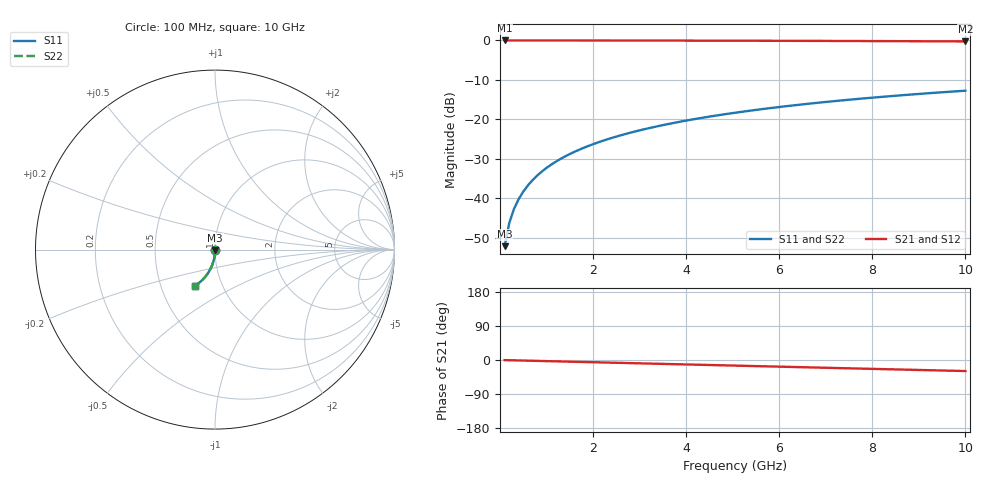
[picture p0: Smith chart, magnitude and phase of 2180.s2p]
# Hz S RI R 50.00
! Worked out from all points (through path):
!   100 points, 100 MHz to 10 GHz, reference 50 ohm
!   highest |S21| = 0.00 dB at 100 MHz (marker M1); lowest = -0.2 dB at 10 GHz (marker M2)
!   group delay of S21, straight-line fit = 8.11 ps
!   lowest |S11| = -52.2 dB at 100 MHz (marker M3), VSWR 1.00, Z = 50 - j0.242 ohm
!   |S11| at or under -10 dB: start of sweep to end of sweep
!   |S22| runs from -52.2 to -12.7 dB; largest |S21 - S12| = 0
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1e8  0.000463 -0.00242  0.9995 -0.00511  0.9995 -0.00511  0.000463 -0.00242
2e8  0.000425 -0.00484  0.9994 -0.0102  0.9994 -0.0102  0.000425 -0.00484
3e8  0.000362 -0.00727  0.9994 -0.0153  0.9994 -0.0153  0.000362 -0.00727
4e8  0.000274 -0.00969  0.9992 -0.0205  0.9992 -0.0205  0.000274 -0.00969
5e8  0.00016 -0.0121  0.9991 -0.0256  0.9991 -0.0256  0.00016 -0.0121
6e8  2.18e-05 -0.0145  0.9989 -0.0307  0.9989 -0.0307  2.18e-05 -0.0145
7e8  -0.000141 -0.0169  0.9987 -0.0358  0.9987 -0.0358  -0.000141 -0.0169
8e8  -0.00033 -0.0194  0.9985 -0.0409  0.9985 -0.0409  -0.00033 -0.0194
9e8  -0.000543 -0.0218  0.9982 -0.046  0.9982 -0.046  -0.000543 -0.0218
1.1e9  -0.00104 -0.0266  0.9975 -0.0562  0.9975 -0.0562  -0.00104 -0.0266
1.4e9  -0.00198 -0.0338  0.9963 -0.0715  0.9963 -0.0715  -0.00198 -0.0338
1.8e9  -0.00357 -0.0434  0.9942 -0.0919  0.9942 -0.0919  -0.00357 -0.0434
2.1e9  -0.00502 -0.0505  0.9924 -0.1071  0.9924 -0.1071  -0.00502 -0.0505
2.5e9  -0.0073 -0.06  0.9894 -0.1273  0.9894 -0.1273  -0.0073 -0.06
2.9e9  -0.00996 -0.0693  0.9859 -0.1475  0.9859 -0.1475  -0.00996 -0.0693
3.4e9  -0.0138 -0.0809  0.9809 -0.1725  0.9809 -0.1725  -0.0138 -0.0809
4.2e9  -0.0212 -0.0988  0.9713 -0.2122  0.9713 -0.2122  -0.0212 -0.0988
5.1e9  -0.0312 -0.1182  0.9582 -0.256  0.9582 -0.256  -0.0312 -0.1182
5.9e9  -0.0416 -0.1346  0.9445 -0.2942  0.9445 -0.2942  -0.0416 -0.1346
6.7e9  -0.0532 -0.15  0.9291 -0.3314  0.9291 -0.3314  -0.0532 -0.15
8.4e9  -0.0816 -0.1792  0.8909 -0.4072  0.8909 -0.4072  -0.0816 -0.1792
1e10  -0.1122 -0.2015  0.8489 -0.4737  0.8489 -0.4737  -0.1122 -0.2015
